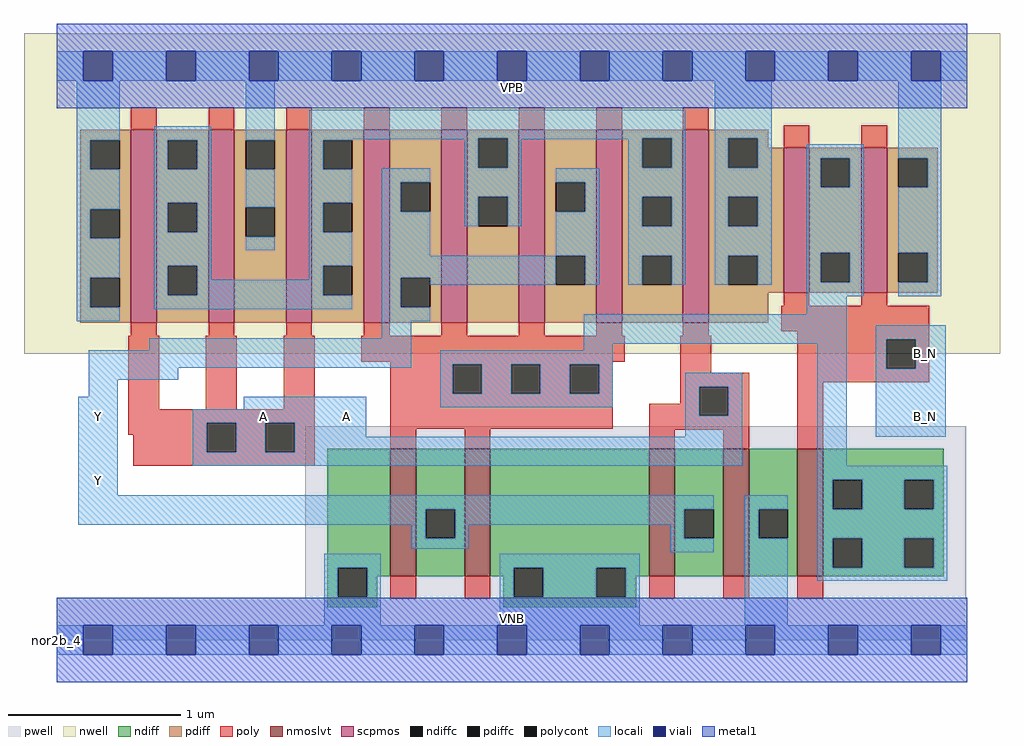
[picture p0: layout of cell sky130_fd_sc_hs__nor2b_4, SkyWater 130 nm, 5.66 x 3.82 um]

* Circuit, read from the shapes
.subckt sky130_fd_sc_hs__nor2b_4 A B_N VGND VNB VPB VPWR Y
XM1 Y n1 VGND VNB sky130_fd_pr__nfet_01v8_lvt w=0.74 l=0.15 m=2
XM2 Y A VGND VNB sky130_fd_pr__nfet_01v8_lvt w=0.74 l=0.15 m=2
XM3 n1 B_N VGND VNB sky130_fd_pr__nfet_01v8_lvt w=0.74 l=0.15
XM4 n2 A VPWR VPB sky130_fd_pr__pfet_01v8 w=1.12 l=0.15 m=4
XM5 Y n1 n2 VPB sky130_fd_pr__pfet_01v8 w=1.12 l=0.15 m=4
XM6 n1 B_N VPWR VPB sky130_fd_pr__pfet_01v8 w=0.84 l=0.15 m=2
.ends

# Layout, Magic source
magic
tech sky130A
magscale 1 2
<< nwell >>
rect -38 332 1094 704
<< pwell >>
rect 288 49 1055 248
rect 0 0 1056 49
<< scpmos >>
rect 86 368 116 592
rect 176 368 206 592
rect 266 368 296 592
rect 356 368 386 592
rect 446 368 476 592
rect 536 368 566 592
rect 626 368 656 592
rect 726 368 756 592
rect 843 403 873 571
rect 933 403 963 571
<< nmoslvt >>
rect 387 74 417 222
rect 473 74 503 222
rect 687 74 717 222
rect 773 74 803 222
rect 859 74 889 222
<< ndiff >>
rect 314 84 387 222
rect 314 50 326 84
rect 360 74 387 84
rect 417 152 473 222
rect 417 118 428 152
rect 462 118 473 152
rect 417 74 473 118
rect 503 84 687 222
rect 503 74 530 84
rect 360 50 372 74
rect 314 38 372 50
rect 518 50 530 74
rect 564 50 626 84
rect 660 74 687 84
rect 717 152 773 222
rect 717 118 728 152
rect 762 118 773 152
rect 717 74 773 118
rect 803 152 859 222
rect 803 118 814 152
rect 848 118 859 152
rect 803 74 859 118
rect 889 186 1029 222
rect 889 152 900 186
rect 934 152 983 186
rect 1017 152 1029 186
rect 889 118 1029 152
rect 889 84 900 118
rect 934 84 983 118
rect 1017 84 1029 118
rect 889 74 1029 84
rect 660 50 672 74
rect 518 38 672 50
<< pdiff >>
rect 27 580 86 592
rect 27 546 39 580
rect 73 546 86 580
rect 27 500 86 546
rect 27 466 39 500
rect 73 466 86 500
rect 27 420 86 466
rect 27 386 39 420
rect 73 386 86 420
rect 27 368 86 386
rect 116 580 176 592
rect 116 546 129 580
rect 163 546 176 580
rect 116 507 176 546
rect 116 473 129 507
rect 163 473 176 507
rect 116 434 176 473
rect 116 400 129 434
rect 163 400 176 434
rect 116 368 176 400
rect 206 580 266 592
rect 206 546 219 580
rect 253 546 266 580
rect 206 502 266 546
rect 206 468 219 502
rect 253 468 266 502
rect 206 368 266 468
rect 296 580 356 592
rect 296 546 309 580
rect 343 546 356 580
rect 296 507 356 546
rect 296 473 309 507
rect 343 473 356 507
rect 296 434 356 473
rect 296 400 309 434
rect 343 400 356 434
rect 296 368 356 400
rect 386 531 446 592
rect 386 497 399 531
rect 433 497 446 531
rect 386 420 446 497
rect 386 386 399 420
rect 433 386 446 420
rect 386 368 446 386
rect 476 582 536 592
rect 476 548 489 582
rect 523 548 536 582
rect 476 514 536 548
rect 476 480 489 514
rect 523 480 536 514
rect 476 368 536 480
rect 566 531 626 592
rect 566 497 579 531
rect 613 497 626 531
rect 566 446 626 497
rect 566 412 579 446
rect 613 412 626 446
rect 566 368 626 412
rect 656 582 726 592
rect 656 548 679 582
rect 713 548 726 582
rect 656 514 726 548
rect 656 480 679 514
rect 713 480 726 514
rect 656 446 726 480
rect 656 412 679 446
rect 713 412 726 446
rect 656 368 726 412
rect 756 582 825 592
rect 756 548 779 582
rect 813 571 825 582
rect 813 548 843 571
rect 756 514 843 548
rect 756 480 779 514
rect 813 480 843 514
rect 756 446 843 480
rect 756 412 779 446
rect 813 412 843 446
rect 756 403 843 412
rect 873 559 933 571
rect 873 525 886 559
rect 920 525 933 559
rect 873 449 933 525
rect 873 415 886 449
rect 920 415 933 449
rect 873 403 933 415
rect 963 559 1022 571
rect 963 525 976 559
rect 1010 525 1022 559
rect 963 449 1022 525
rect 963 415 976 449
rect 1010 415 1022 449
rect 963 403 1022 415
rect 756 368 825 403
<< ndiffc >>
rect 326 50 360 84
rect 428 118 462 152
rect 530 50 564 84
rect 626 50 660 84
rect 728 118 762 152
rect 814 118 848 152
rect 900 152 934 186
rect 983 152 1017 186
rect 900 84 934 118
rect 983 84 1017 118
<< pdiffc >>
rect 39 546 73 580
rect 39 466 73 500
rect 39 386 73 420
rect 129 546 163 580
rect 129 473 163 507
rect 129 400 163 434
rect 219 546 253 580
rect 219 468 253 502
rect 309 546 343 580
rect 309 473 343 507
rect 309 400 343 434
rect 399 497 433 531
rect 399 386 433 420
rect 489 548 523 582
rect 489 480 523 514
rect 579 497 613 531
rect 579 412 613 446
rect 679 548 713 582
rect 679 480 713 514
rect 679 412 713 446
rect 779 548 813 582
rect 779 480 813 514
rect 779 412 813 446
rect 886 525 920 559
rect 886 415 920 449
rect 976 525 1010 559
rect 976 415 1010 449
<< poly >>
rect 86 592 116 618
rect 176 592 206 618
rect 266 592 296 618
rect 356 592 386 618
rect 446 592 476 618
rect 536 592 566 618
rect 626 592 656 618
rect 726 592 756 618
rect 843 571 873 597
rect 933 571 963 597
rect 843 388 873 403
rect 933 388 963 403
rect 86 353 116 368
rect 176 353 206 368
rect 266 353 296 368
rect 356 353 386 368
rect 446 353 476 368
rect 536 353 566 368
rect 626 353 656 368
rect 726 353 756 368
rect 840 358 1012 388
rect 83 268 119 353
rect 173 268 209 353
rect 263 268 299 353
rect 353 323 659 353
rect 83 252 299 268
rect 83 238 174 252
rect 89 218 174 238
rect 208 218 242 252
rect 276 218 299 252
rect 387 320 645 323
rect 387 286 459 320
rect 493 286 527 320
rect 561 286 595 320
rect 629 286 645 320
rect 387 245 645 286
rect 723 310 759 353
rect 859 349 1012 358
rect 859 315 962 349
rect 996 315 1012 349
rect 723 294 803 310
rect 723 274 745 294
rect 687 260 745 274
rect 779 260 803 294
rect 387 222 417 245
rect 473 222 503 245
rect 687 244 803 260
rect 687 222 717 244
rect 773 222 803 244
rect 859 299 1012 315
rect 859 222 889 299
rect 89 202 299 218
rect 387 48 417 74
rect 473 48 503 74
rect 687 48 717 74
rect 773 48 803 74
rect 859 48 889 74
<< polycont >>
rect 174 218 208 252
rect 242 218 276 252
rect 459 286 493 320
rect 527 286 561 320
rect 595 286 629 320
rect 962 315 996 349
rect 745 260 779 294
<< locali >>
rect 0 649 31 683
rect 65 649 127 683
rect 161 649 223 683
rect 257 649 319 683
rect 353 649 415 683
rect 449 649 511 683
rect 545 649 607 683
rect 641 649 703 683
rect 737 649 799 683
rect 833 649 895 683
rect 929 649 991 683
rect 1025 649 1056 683
rect 23 580 73 649
rect 23 546 39 580
rect 23 500 73 546
rect 23 466 39 500
rect 23 420 73 466
rect 23 386 39 420
rect 23 370 73 386
rect 113 580 179 596
rect 113 546 129 580
rect 163 546 179 580
rect 113 507 179 546
rect 113 473 129 507
rect 163 473 179 507
rect 113 434 179 473
rect 219 580 253 649
rect 219 502 253 546
rect 219 452 253 468
rect 293 582 729 615
rect 293 581 489 582
rect 293 580 343 581
rect 293 546 309 580
rect 473 548 489 581
rect 523 581 679 582
rect 523 548 539 581
rect 293 507 343 546
rect 293 473 309 507
rect 113 400 129 434
rect 163 418 179 434
rect 293 434 343 473
rect 293 418 309 434
rect 163 400 309 418
rect 113 384 343 400
rect 377 531 433 547
rect 377 497 399 531
rect 377 446 433 497
rect 473 514 539 548
rect 663 548 679 581
rect 713 548 729 582
rect 473 480 489 514
rect 523 480 539 514
rect 579 531 629 547
rect 613 497 629 531
rect 579 446 629 497
rect 377 420 579 446
rect 377 386 399 420
rect 433 412 579 420
rect 613 412 629 446
rect 663 514 729 548
rect 663 480 679 514
rect 713 480 729 514
rect 663 446 729 480
rect 663 412 679 446
rect 713 412 729 446
rect 763 582 829 649
rect 763 548 779 582
rect 813 548 829 582
rect 763 514 829 548
rect 763 480 779 514
rect 813 480 829 514
rect 763 446 829 480
rect 763 412 779 446
rect 813 412 829 446
rect 870 559 936 575
rect 870 525 886 559
rect 920 525 936 559
rect 870 449 936 525
rect 870 415 886 449
rect 920 415 936 449
rect 377 370 433 386
rect 870 399 936 415
rect 976 559 1026 649
rect 1010 525 1026 559
rect 976 449 1026 525
rect 1010 415 1026 449
rect 976 399 1026 415
rect 870 378 916 399
rect 377 350 411 370
rect 107 336 411 350
rect 611 344 916 378
rect 611 336 645 344
rect 37 316 411 336
rect 445 320 645 336
rect 37 302 141 316
rect 37 282 71 302
rect 445 286 459 320
rect 493 286 527 320
rect 561 286 595 320
rect 629 286 645 320
rect 25 168 71 282
rect 217 268 359 282
rect 445 270 645 286
rect 729 294 795 310
rect 158 252 359 268
rect 158 218 174 252
rect 208 218 242 252
rect 276 236 359 252
rect 729 260 745 294
rect 779 260 795 294
rect 729 236 795 260
rect 276 218 795 236
rect 158 202 795 218
rect 882 202 916 344
rect 950 349 1031 365
rect 950 315 962 349
rect 996 315 1031 349
rect 950 236 1031 315
rect 882 186 1033 202
rect 25 152 762 168
rect 25 134 428 152
rect 412 118 428 134
rect 462 134 728 152
rect 462 118 478 134
rect 412 106 478 118
rect 712 118 728 134
rect 712 102 762 118
rect 798 152 848 168
rect 798 118 814 152
rect 310 84 376 100
rect 310 50 326 84
rect 360 50 376 84
rect 310 17 376 50
rect 514 84 676 100
rect 514 50 530 84
rect 564 50 626 84
rect 660 50 676 84
rect 514 17 676 50
rect 798 17 848 118
rect 882 152 900 186
rect 934 152 983 186
rect 1017 152 1033 186
rect 882 118 1033 152
rect 882 84 900 118
rect 934 84 983 118
rect 1017 84 1033 118
rect 882 69 1033 84
rect 0 -17 31 17
rect 65 -17 127 17
rect 161 -17 223 17
rect 257 -17 319 17
rect 353 -17 415 17
rect 449 -17 511 17
rect 545 -17 607 17
rect 641 -17 703 17
rect 737 -17 799 17
rect 833 -17 895 17
rect 929 -17 991 17
rect 1025 -17 1056 17
<< viali >>
rect 31 649 65 683
rect 127 649 161 683
rect 223 649 257 683
rect 319 649 353 683
rect 415 649 449 683
rect 511 649 545 683
rect 607 649 641 683
rect 703 649 737 683
rect 799 649 833 683
rect 895 649 929 683
rect 991 649 1025 683
rect 31 -17 65 17
rect 127 -17 161 17
rect 223 -17 257 17
rect 319 -17 353 17
rect 415 -17 449 17
rect 511 -17 545 17
rect 607 -17 641 17
rect 703 -17 737 17
rect 799 -17 833 17
rect 895 -17 929 17
rect 991 -17 1025 17
<< metal1 >>
rect 0 683 1056 715
rect 0 649 31 683
rect 65 649 127 683
rect 161 649 223 683
rect 257 649 319 683
rect 353 649 415 683
rect 449 649 511 683
rect 545 649 607 683
rect 641 649 703 683
rect 737 649 799 683
rect 833 649 895 683
rect 929 649 991 683
rect 1025 649 1056 683
rect 0 617 1056 649
rect 0 17 1056 49
rect 0 -17 31 17
rect 65 -17 127 17
rect 161 -17 223 17
rect 257 -17 319 17
rect 353 -17 415 17
rect 449 -17 511 17
rect 545 -17 607 17
rect 641 -17 703 17
rect 737 -17 799 17
rect 833 -17 895 17
rect 929 -17 991 17
rect 1025 -17 1056 17
rect 0 -49 1056 -17
<< labels >>
rlabel comment s 0 0 0 0 4 nor2b_4
flabel pwell s 0 0 1056 49 0 FreeSans 200 0 0 0 VNB
port 4 nsew ground bidirectional
flabel nwell s 0 617 1056 666 0 FreeSans 200 0 0 0 VPB
port 5 nsew power bidirectional
flabel metal1 s 0 617 1056 666 0 FreeSans 340 0 0 0 VPWR
port 6 nsew power bidirectional
flabel metal1 s 0 0 1056 49 0 FreeSans 340 0 0 0 VGND
port 3 nsew ground bidirectional
flabel locali s 223 242 257 276 0 FreeSans 340 0 0 0 A
port 1 nsew signal input
flabel locali s 319 242 353 276 0 FreeSans 340 0 0 0 A
port 1 nsew signal input
flabel locali s 991 242 1025 276 0 FreeSans 340 0 0 0 B_N
port 2 nsew signal input
flabel locali s 991 316 1025 350 0 FreeSans 340 0 0 0 B_N
port 2 nsew signal input
flabel locali s 31 168 65 202 0 FreeSans 340 0 0 0 Y
port 7 nsew signal output
flabel locali s 31 242 65 276 0 FreeSans 340 0 0 0 Y
port 7 nsew signal output
<< properties >>
string LEFsite unit
string LEFclass CORE
string FIXED_BBOX 0 0 1056 666
string GDS_FILE $PDKPATH/libs.ref/sky130_fd_sc_hs/gds/sky130_fd_sc_hs.gds
string LEFsymmetry X Y
string GDS_END 3264936
string GDS_START 3256482
<< end >>
